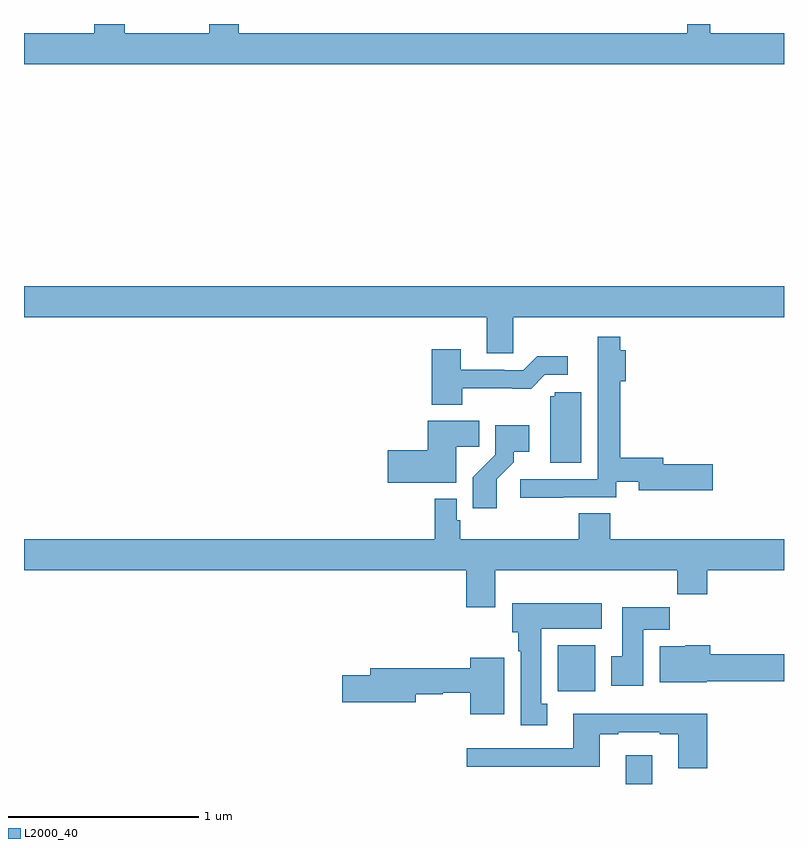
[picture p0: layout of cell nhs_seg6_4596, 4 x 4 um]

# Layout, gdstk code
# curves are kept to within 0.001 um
import gdstk
lib = gdstk.Library(unit=1e-6, precision=1e-09)
def R(c, l, rs):  # rectangles x0, y0, x1, y1
    for r in rs: c.add(gdstk.rectangle(r[:2], r[2:], *l))
def P(c, l, *ps):  # polygons
    for p in ps: c.add(gdstk.Polygon(p, *l))
L2000_40 = (2000, 40)

nhs_seg6_4596 = lib.new_cell('nhs_seg6_4596')
R(nhs_seg6_4596, L2000_40, [(384.167,991.5,384.307,991.651), (383.81,991.988,384.007,992.23)])
P(nhs_seg6_4596, L2000_40, [(385,995.452),(384.613,995.452),(384.613,995.5),(384.492,995.5),(384.492,995.452),(382.131,995.452),(382.131,995.5),(381.976,995.5),(381.976,995.452),(381.531,995.452),(381.531,995.5),(381.371,995.5),(381.371,995.452),(381,995.452),(381,995.288),(385,995.288)],
  [(383.574,993.956),(385,993.956),(385,994.12),(381,994.12),(381,993.956),(383.435,993.956),(383.435,993.766),(383.574,993.766)],
  [(383.837,993.009),(384.117,993.009),(384.117,993.09),(384.236,993.09),(384.236,993.047),(384.625,993.047),(384.625,993.182),(384.364,993.182),(384.364,993.218),(384.137,993.218),(384.137,993.619),(384.167,993.619),(384.167,993.784),(384.137,993.784),(384.137,993.853),(384.02,993.853),(384.02,993.63),(384.021,993.63),(384.021,993.105),(383.613,993.105),(383.613,993.007),(383.837,993.007)],
  [(383.307,993.582),(383.669,993.581),(383.742,993.654),(383.863,993.654),(383.863,993.751),(383.701,993.751),(383.628,993.678),(383.528,993.678),(383.528,993.681),(383.299,993.681),(383.299,993.787),(383.147,993.787),(383.147,993.497),(383.307,993.497)],
  [(383.932,993.561),(383.793,993.561),(383.793,993.54),(383.771,993.54),(383.771,993.192),(383.932,993.192)],
  [(383.275,993.274),(383.396,993.274),(383.396,993.412),(383.126,993.412),(383.126,993.257),(382.914,993.257),(382.914,993.086),(383.275,993.086)],
  [(383.488,993.103),(383.578,993.193),(383.578,993.248),(383.659,993.248),(383.659,993.388),(383.481,993.388),(383.481,993.233),(383.362,993.114),(383.362,992.952),(383.488,992.952)],
  [(383.479,992.624),(384.439,992.624),(384.439,992.5),(384.596,992.5),(384.596,992.624),(385,992.624),(385,992.788),(384.086,992.788),(384.086,992.924),(383.921,992.924),(383.921,992.788),(383.297,992.788),(383.297,992.889),(383.277,992.889),(383.277,993.001),(383.161,993.001),(383.161,992.788),(381,992.788),(381,992.624),(383.327,992.624),(383.327,992.43),(383.479,992.43)],
  [(383.755,991.922),(383.722,991.922),(383.722,992.318),(384.04,992.318),(384.04,992.452),(383.57,992.452),(383.57,992.298),(383.6,992.298),(383.6,992.198),(383.615,992.198),(383.615,991.809),(383.755,991.809)],
  [(384.259,992.312),(384.398,992.312),(384.398,992.431),(384.149,992.431),(384.149,992.172),(384.092,992.172),(384.092,992.016),(384.259,992.016)],
  [(384.594,992.042),(385,992.042),(385,992.184),(384.611,992.184),(384.611,992.23),(384.48,992.23),(384.48,992.224),(384.347,992.224),(384.347,992.036),(384.594,992.036)],
  [(383.527,992.164),(383.348,992.164),(383.348,992.108),(382.823,992.108),(382.823,992.072),(382.674,992.072),(382.674,991.93),(383.062,991.93),(383.062,991.972),(383.205,991.972),(383.205,991.98),(383.348,991.98),(383.348,991.868),(383.527,991.868)],
  [(384.596,991.87),(383.891,991.87),(383.891,991.689),(383.331,991.689),(383.331,991.592),(384.031,991.592),(384.031,991.761),(384.127,991.761),(384.127,991.773),(384.347,991.773),(384.347,991.761),(384.443,991.761),(384.443,991.584),(384.596,991.584)])

lib.write_gds('nhs_seg6_4596.gds')
